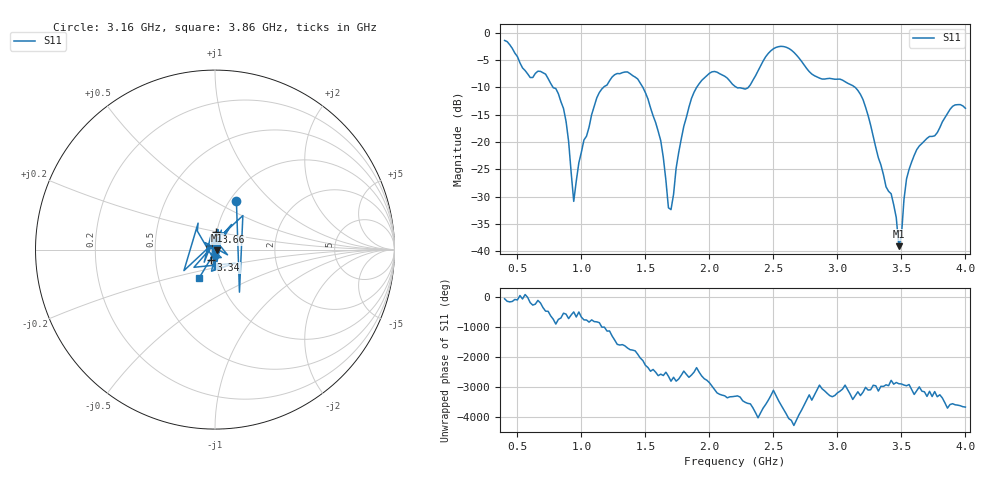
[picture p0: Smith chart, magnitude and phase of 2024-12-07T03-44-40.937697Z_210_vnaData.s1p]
!Created with skrf (http://scikit-rf.org).
# Hz S RI R 50.0
!freq ReS11 ImS11
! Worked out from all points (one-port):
!   181 points, 400 MHz to 4 GHz, reference 50 ohm
!   lowest |S11| = -39.0 dB at 3.48 GHz (marker M1), VSWR 1.02, Z = 51 - j0.488 ohm
!   |S11| at or under -10 dB: 778.7 MHz to 1.172 GHz (393.1 MHz wide, 40.3 % of centre); 1.481 GHz to 1.9 GHz (419.5 MHz wide, 24.8 % of centre); 3.14 GHz to end of sweep (the widest 3 of 4)
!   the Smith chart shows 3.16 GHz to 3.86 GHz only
!   S11 on the Smith chart (normalised r, x): 3.16 GHz: 1.07, +0.64; 3.34 GHz: 0.95, -0.11; 3.66 GHz: 0.99, +0.19; 3.86 GHz: 0.80, -0.26
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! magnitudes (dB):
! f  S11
! 400 MHz  -1.4
! 600 MHz  -8.2
! 720 MHz  -7.6
! 860 MHz  -13.8
! 940 MHz  -30.8
! 980 MHz  -23.8
! 1.12 GHz  -11.9
! 1.3 GHz  -7.5
! 1.52 GHz  -12.1
! 1.62 GHz  -19.8
! 1.68 GHz  -32.0
! 1.7 GHz  -32.4
! 1.76 GHz  -21.9
! 1.86 GHz  -12.0
! 1.94 GHz  -8.7
! 2.2 GHz  -9.8
! 2.3 GHz  -10.1
! 2.5 GHz  -2.9
! 2.66 GHz  -3.6
! 3.1 GHz  -9.5
! 3.16 GHz  -10.5
! 3.34 GHz  -24.2
! 3.44 GHz  -31.5
! 3.48 GHz  -39.0
! 3.56 GHz  -25.0
! 3.66 GHz  -20.3
! 3.86 GHz  -14.8
! 4 GHz  -13.8
